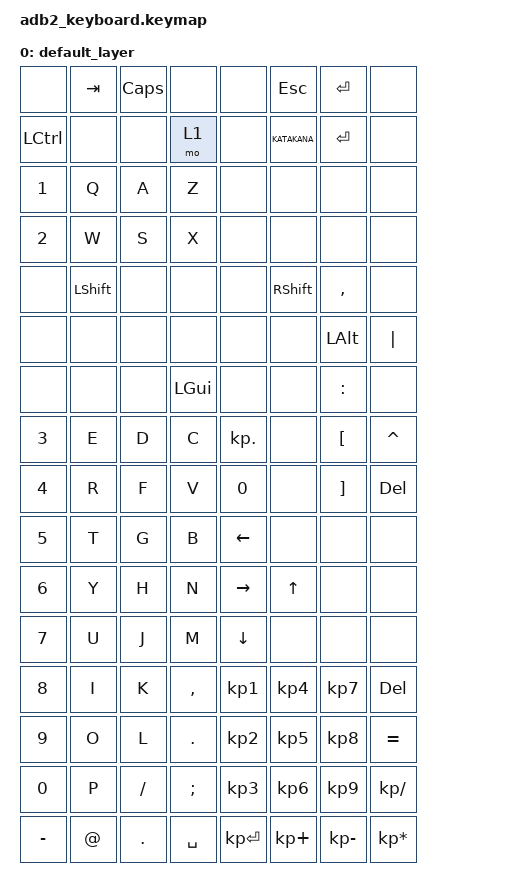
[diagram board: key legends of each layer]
/ {
    keymap {
        compatible = "zmk,keymap";

        default_layer {
            bindings = <
                /* Row 0 */
                &none      &kp TAB    &kp CAPS   &none          &none            &kp ESC         &kp ENTER    &none
                /* Row 1 */
                &kp LCTRL  &none      &none      &mo 1          &none            &kp KATAKANA    &kp ENTER    &none
                /* Row 2 */
                &kp N1     &kp Q      &kp A      &kp Z          &none            &none           &none        &none
                /* Row 3 */
                &kp N2     &kp W      &kp S      &kp X          &none            &none           &none        &none
                /* Row 4 */
                &none      &kp LSHIFT &none      &none          &none            &kp RSHIFT      &kp COMMA    &none
                /* Row 5 */
                &none      &none      &none      &none          &none            &none           &kp LALT     &kp PIPE
                /* Row 6 */
                &none      &none      &none      &kp LGUI       &none            &none           &kp COLON    &none
                /* Row 7 */
                &kp N3     &kp E      &kp D      &kp C          &kp KP_DOT       &none           &kp LBKT     &kp CARET
                /* Row 8 */
                &kp N4     &kp R      &kp F      &kp V          &kp N0           &none           &kp RBKT     &kp DEL
                /* Row 9 */
                &kp N5     &kp T      &kp G      &kp B          &kp LEFT         &none           &none        &none
                /* Row 10 */
                &kp N6     &kp Y      &kp H      &kp N          &kp RIGHT        &kp UP          &none        &none
                /* Row 11 */
                &kp N7     &kp U      &kp J      &kp M          &kp DOWN         &none           &none        &none
                /* Row 12 */
                &kp N8     &kp I      &kp K      &kp COMMA      &kp KP_1         &kp KP_4        &kp KP_7     &kp DEL
                /* Row 13 */
                &kp N9     &kp O      &kp L      &kp DOT        &kp KP_2         &kp KP_5        &kp KP_8     &kp EQUAL
                /* Row 14 */
                &kp N0     &kp P      &kp SLASH  &kp SEMICOLON  &kp KP_3         &kp KP_6        &kp KP_9     &kp KP_SLASH
                /* Row 15 */
                &kp MINUS  &kp AT     &kp DOT    &kp SPC        &kp KP_ENTER     &kp KP_PLUS     &kp KP_MINUS &kp KP_ASTERISK
            >;
        };
    };
};
